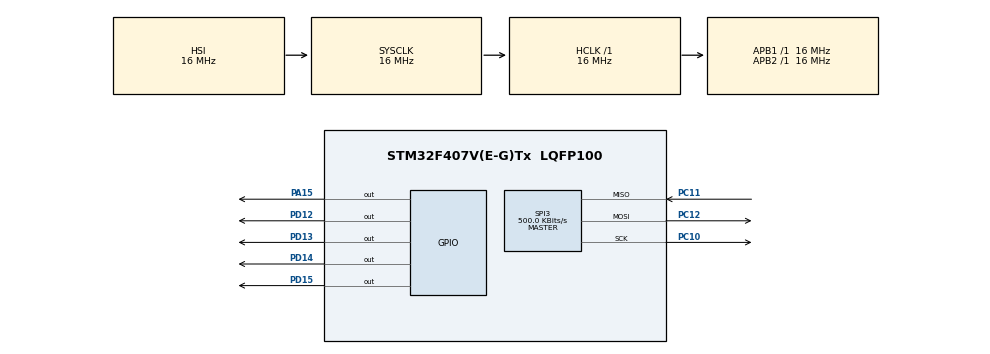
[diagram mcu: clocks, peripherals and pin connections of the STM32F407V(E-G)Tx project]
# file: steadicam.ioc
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Dma.Request0=SPI3_RX
Dma.Request1=SPI3_TX
Dma.SPI3_RX.0.Direction=DMA_PERIPH_TO_MEMORY
Dma.SPI3_RX.0.FIFOMode=DMA_FIFOMODE_DISABLE
Dma.SPI3_RX.0.Instance=DMA1_Stream0
Dma.SPI3_RX.0.MemDataAlignment=DMA_MDATAALIGN_BYTE
Dma.SPI3_RX.0.MemInc=DMA_MINC_ENABLE
Dma.SPI3_RX.0.Mode=DMA_NORMAL
Dma.SPI3_RX.0.PeriphDataAlignment=DMA_PDATAALIGN_BYTE
Dma.SPI3_RX.0.PeriphInc=DMA_PINC_DISABLE
Dma.SPI3_RX.0.Priority=DMA_PRIORITY_MEDIUM
Dma.SPI3_TX.1.Direction=DMA_MEMORY_TO_PERIPH
Dma.SPI3_TX.1.FIFOMode=DMA_FIFOMODE_DISABLE
Dma.SPI3_TX.1.Instance=DMA1_Stream5
Dma.SPI3_TX.1.MemDataAlignment=DMA_MDATAALIGN_BYTE
Dma.SPI3_TX.1.MemInc=DMA_MINC_ENABLE
Dma.SPI3_TX.1.Mode=DMA_NORMAL
Dma.SPI3_TX.1.PeriphDataAlignment=DMA_PDATAALIGN_BYTE
Dma.SPI3_TX.1.PeriphInc=DMA_PINC_DISABLE
Dma.SPI3_TX.1.Priority=DMA_PRIORITY_MEDIUM
Mcu.Family=STM32F4
Mcu.Name=STM32F407V(E-G)Tx
Mcu.Package=LQFP100
NVIC.DMA1_Stream0_IRQn=true\:0\:0\:false\:false\:true
NVIC.DMA1_Stream5_IRQn=true\:0\:0\:false\:false\:true
NVIC.PriorityGroup=NVIC_PRIORITYGROUP_4
PA15.Signal=GPIO_Output
PC10.Mode=Full_Duplex_Master
PC10.Signal=SPI3_SCK
PC11.Mode=Full_Duplex_Master
PC11.Signal=SPI3_MISO
PC12.Mode=Full_Duplex_Master
PC12.Signal=SPI3_MOSI
PD12.Signal=GPIO_Output
PD13.Signal=GPIO_Output
PD14.Signal=GPIO_Output
PD15.Signal=GPIO_Output
PH0-OSC_IN.Mode=HSE-External-Oscillator
PH0-OSC_IN.Signal=RCC_OSC_IN
PH1-OSC_OUT.Mode=HSE-External-Oscillator
PH1-OSC_OUT.Signal=RCC_OSC_OUT
ProjectManager.HeapSize=0x2000
ProjectManager.StackSize=0x4000
ProjectManager.TargetToolchain=MDK-ARM V5
RCC.48MHZClocksFreq_Value=24000000
RCC.AHBFreq_Value=16000000
RCC.APB1Freq_Value=16000000
RCC.APB1TimFreq_Value=16000000
RCC.APB2Freq_Value=16000000
RCC.CortexFreq_Value=16000000
RCC.HSE_VALUE=8000000
RCC.HSI_VALUE=16000000
RCC.LSE_VALUE=32768
RCC.PLLSourceVirtual=RCC_PLLSOURCE_HSE
RCC.SYSCLKFreq_VALUE=16000000
RCC.VCOOutputFreq_Value=96000000
SPI3.BaudRatePrescaler=SPI_BAUDRATEPRESCALER_32
SPI3.CLKPhase=SPI_PHASE_2EDGE
SPI3.CLKPolarity=SPI_POLARITY_HIGH
SPI3.CalculateBaudRate=500.0 KBits/s
SPI3.Direction=SPI_DIRECTION_2LINES
SPI3.Mode=SPI_MODE_MASTER
SPI3.VirtualType=VM_MASTER
board=steadicam

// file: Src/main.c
/**
  ******************************************************************************
  * File Name          : main.c
  * Description        : Main program body
  ******************************************************************************
  *
  * COPYRIGHT(c) 2017 STMicroelectronics
  *
  * Redistribution and use in source and binary forms, with or without modification,
  * are permitted provided that the following conditions are met:
  *   1. Redistributions of source code must retain the above copyright notice,
  *      this list of conditions and the following disclaimer.
  *   2. Redistributions in binary form must reproduce the above copyright notice,
  *      this list of conditions and the following disclaimer in the documentation
  *      and/or other materials provided with the distribution.
  *   3. Neither the name of STMicroelectronics nor the names of its contributors
  *      may be used to endorse or promote products derived from this software
  *      without specific prior written permission.
  *
  * THIS SOFTWARE IS PROVIDED BY THE COPYRIGHT HOLDERS AND CONTRIBUTORS "AS IS"
  * AND ANY EXPRESS OR IMPLIED WARRANTIES, INCLUDING, BUT NOT LIMITED TO, THE
  * IMPLIED WARRANTIES OF MERCHANTABILITY AND FITNESS FOR A PARTICULAR PURPOSE ARE
  * DISCLAIMED. IN NO EVENT SHALL THE COPYRIGHT HOLDER OR CONTRIBUTORS BE LIABLE
  * FOR ANY DIRECT, INDIRECT, INCIDENTAL, SPECIAL, EXEMPLARY, OR CONSEQUENTIAL
  * DAMAGES (INCLUDING, BUT NOT LIMITED TO, PROCUREMENT OF SUBSTITUTE GOODS OR
  * SERVICES; LOSS OF USE, DATA, OR PROFITS; OR BUSINESS INTERRUPTION) HOWEVER
  * CAUSED AND ON ANY THEORY OF LIABILITY, WHETHER IN CONTRACT, STRICT LIABILITY,
  * OR TORT (INCLUDING NEGLIGENCE OR OTHERWISE) ARISING IN ANY WAY OUT OF THE USE
  * OF THIS SOFTWARE, EVEN IF ADVISED OF THE POSSIBILITY OF SUCH DAMAGE.
  *
  ******************************************************************************
  */
#include "main.h"
#include "stm32f4xx_hal.h"
#include "dma.h"
#include "spi.h"
#include "gpio.h"

/* USER CODE BEGIN Includes */
#include "mpu9255.h"
/* USER CODE END Includes */

/* USER CODE BEGIN PV */
/* Private variables ---------------------------------------------------------*/

/* USER CODE END PV */

void SystemClock_Config(void);
void Error_Handler(void);

/* USER CODE BEGIN PFP */
/* Private function prototypes -----------------------------------------------*/

/* USER CODE END PFP */

int main(void)
{

  /* USER CODE BEGIN 1 */
	MPU9255_t MPU9255;
	uint8_t Address, i, SPI_Data=0x00;
  /* USER CODE END 1 */

  /* MCU Configuration----------------------------------------------------------*/

  /* Reset of all peripherals, Initializes the Flash interface and the Systick. */
  HAL_Init();

  /* Configure the system clock */
  SystemClock_Config();

  /* Initialize all configured peripherals */
  MX_GPIO_Init();
  MX_DMA_Init();
  MX_SPI3_Init();

  /* USER CODE BEGIN 2 */
	MPU9255.SPI = &hspi3; 							// set spi connected to mpu9255
	MPU9255.SPI_CS_PORT = GPIOA;				// set CS port
	MPU9255.SPI_CS_PIN = GPIO_PIN_15;		// set CS pin number

	MPU9255.Init.ASense = MPU9255_AccelSens_2G; 		// set accel sense
	MPU9255.Init.GSense = MPU9255_GyroSens_250DPS;	// set gyro sense
	MPU9255.Init.MSense = MPU9255_MagSens_16Bit;		// set mag sense

	/* Calculate multiplicators */
  MPU9255.MMult = 10.0f * 4912.0f / 32768.0f;

	HAL_Delay(100);
	Address = MPU9255_WHO_AM_I;
	MPU9255_GetReg(&MPU9255, &Address, &SPI_Data);

	// Accelerometer check
	if (SPI_Data == 0x73) { // if accel is mpu9255
			RED_LED_ON(); BLUE_LED_ON(); GREEN_LED_ON(); YELLOW_LED_ON();				HAL_Delay(1000);
			RED_LED_OFF(); BLUE_LED_OFF(); GREEN_LED_OFF(); YELLOW_LED_OFF();		HAL_Delay(1000);
		} else {
			i=0;
			while(i<3) {
				RED_LED_ON();BLUE_LED_OFF();GREEN_LED_OFF();YELLOW_LED_OFF();			HAL_Delay(50);
				RED_LED_OFF();BLUE_LED_ON();GREEN_LED_OFF();YELLOW_LED_OFF();			HAL_Delay(50);
				RED_LED_OFF();BLUE_LED_OFF();GREEN_LED_ON();YELLOW_LED_OFF();			HAL_Delay(50);
				RED_LED_OFF();BLUE_LED_OFF();GREEN_LED_OFF();YELLOW_LED_ON();			HAL_Delay(50);
				i++;
				RED_LED_OFF();BLUE_LED_OFF();GREEN_LED_OFF();YELLOW_LED_OFF();
			}
	}

	MPU9255_Init(&MPU9255);

  /* USER CODE END 2 */

  /* Infinite loop */
  while (1)
  {

  /* USER CODE BEGIN 3 */
		MPU9255_ReadAccel(&MPU9255);
		if (MPU9255.Ax >= 0.5f) {
			RED_LED_ON(); GREEN_LED_OFF();
		} else if (MPU9255.Ax <= -0.5f)   {
			RED_LED_OFF(); GREEN_LED_ON();
		} else {
			GREEN_LED_OFF(); RED_LED_OFF();
		}

		if (MPU9255.Ay >= 0.5f) {
			YELLOW_LED_ON(); BLUE_LED_OFF();
		} else if (MPU9255.Ay <= -0.5f)   {
			YELLOW_LED_OFF(); BLUE_LED_ON();
		} else {
			YELLOW_LED_OFF(); BLUE_LED_OFF();
		}
		HAL_Delay(1);
  }
  /* USER CODE END 3 */

}

/** System Clock Configuration
*/
void SystemClock_Config(void)
{

  RCC_OscInitTypeDef RCC_OscInitStruct;
  RCC_ClkInitTypeDef RCC_ClkInitStruct;

    /**Configure the main internal regulator output voltage
    */
  __HAL_RCC_PWR_CLK_ENABLE();

  __HAL_PWR_VOLTAGESCALING_CONFIG(PWR_REGULATOR_VOLTAGE_SCALE1);

    /**Initializes the CPU, AHB and APB busses clocks
    */
  RCC_OscInitStruct.OscillatorType = RCC_OSCILLATORTYPE_HSI;
  RCC_OscInitStruct.HSIState = RCC_HSI_ON;
  RCC_OscInitStruct.HSICalibrationValue = 16;
  RCC_OscInitStruct.PLL.PLLState = RCC_PLL_NONE;
  if (HAL_RCC_OscConfig(&RCC_OscInitStruct) != HAL_OK)
  {
    Error_Handler();
  }

    /**Initializes the CPU, AHB and APB busses clocks
    */
  RCC_ClkInitStruct.ClockType = RCC_CLOCKTYPE_HCLK|RCC_CLOCKTYPE_SYSCLK
                              |RCC_CLOCKTYPE_PCLK1|RCC_CLOCKTYPE_PCLK2;
  RCC_ClkInitStruct.SYSCLKSource = RCC_SYSCLKSOURCE_HSI;
  RCC_ClkInitStruct.AHBCLKDivider = RCC_SYSCLK_DIV1;
  RCC_ClkInitStruct.APB1CLKDivider = RCC_HCLK_DIV1;
  RCC_ClkInitStruct.APB2CLKDivider = RCC_HCLK_DIV1;

  if (HAL_RCC_ClockConfig(&RCC_ClkInitStruct, FLASH_LATENCY_0) != HAL_OK)
  {
    Error_Handler();
  }

    /**Configure the Systick interrupt time
    */
  HAL_SYSTICK_Config(HAL_RCC_GetHCLKFreq()/1000);

    /**Configure the Systick
    */
  HAL_SYSTICK_CLKSourceConfig(SYSTICK_CLKSOURCE_HCLK);

  /* SysTick_IRQn interrupt configuration */
  HAL_NVIC_SetPriority(SysTick_IRQn, 0, 0);
}

void Error_Handler(void)
{
  while(1)
  {
  }
}

/************************ (C) COPYRIGHT STMicroelectronics *****END OF FILE****/
